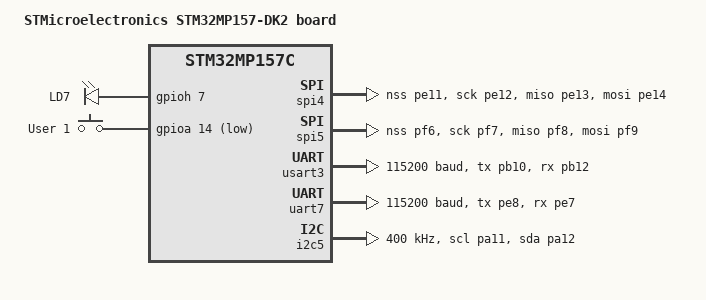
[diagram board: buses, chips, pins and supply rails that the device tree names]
/*
 * Copyright (c) 2019 STMicroelectronics
 *
 * SPDX-License-Identifier: Apache-2.0
 */

/dts-v1/;
#include <st/mp1/stm32mp157.dtsi>
#include <st/mp1/stm32mp157cacx-pinctrl.dtsi>
#include "arduino_r3_connector.dtsi"

/ {
	model = "STMicroelectronics STM32MP157-DK2 board";
	compatible = "st,stm32mp157c-dk2";
	chosen {
		/*
		 * By default, Zephyr console and shell are assigned to
		 * remoteproc. To enable console and shell over UART, uncomment
		 * following lines and set the correct config in
		 * stm32mp157c_dk2_defconfig "Serial Port" section in Zephyr
		 * board documentation.
		 * zephyr,console = &usart3;
		 * zephyr,shell-uart = &usart3;
		 */
		zephyr,flash = &retram;
		zephyr,sram = &mcusram;
	};

	leds {
		compatible = "gpio-leds";
		red_led_1: led_1 {
			gpios = <&gpioh 7 GPIO_ACTIVE_HIGH>;
			label = "LD7";
		};
	};

	gpio_keys {
		compatible = "gpio-keys";
		user_button: button {
			label = "User 1";
			gpios = <&gpioa 14 GPIO_ACTIVE_LOW>;
		};
	};

	aliases {
		led0 = &red_led_1;
		sw0 = &user_button;
	};

};

&spi4_miso_pe13{ slew-rate = "very-high-speed"; };

&spi4{
	pinctrl-0 = <&spi4_nss_pe11 &spi4_sck_pe12
		     &spi4_miso_pe13 &spi4_mosi_pe14>;
	status = "okay";
};

&spi5_miso_pf8{ slew-rate = "very-high-speed"; };

&spi5{
	pinctrl-0 = <&spi5_nss_pf6 &spi5_sck_pf7
		     &spi5_miso_pf8 &spi5_mosi_pf9>;
	status = "okay";
};

&usart3 {
	pinctrl-0 = <&usart3_tx_pb10 &usart3_rx_pb12>;
	current-speed = <115200>;
	status = "okay";
};

&uart7 {
	pinctrl-0 = <&uart7_tx_pe8 &uart7_rx_pe7>;
	current-speed = <115200>;
	status = "okay";
};

&mailbox {
	status = "okay";
};

&i2c5 {
	pinctrl-0 = <&i2c5_scl_pa11 &i2c5_sda_pa12>;
	status = "okay";
	clock-frequency = <I2C_BITRATE_FAST>;
};
